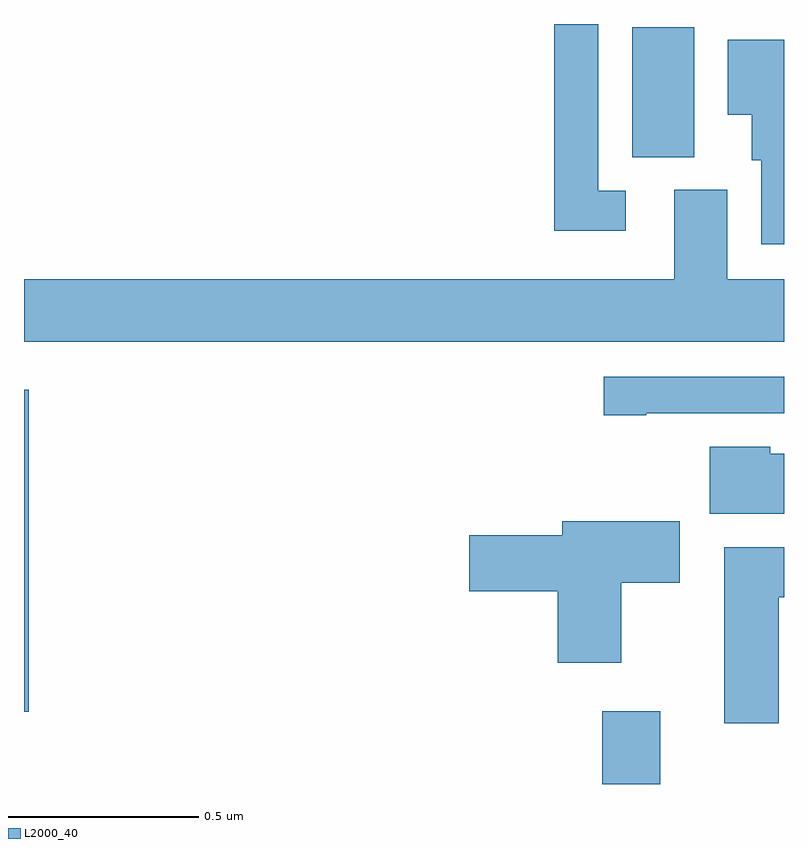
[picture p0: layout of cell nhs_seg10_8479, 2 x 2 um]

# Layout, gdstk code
import gdstk
lib = gdstk.Library(unit=1e-6, precision=1e-09)
def R(c, l, rs):  # rectangles x0, y0, x1, y1
    for r in rs: c.add(gdstk.rectangle(r[:2], r[2:], *l))
def P(c, l, *ps):  # polygons
    for p in ps: c.add(gdstk.Polygon(p, *l))
L2000_40 = (2000, 40)

nhs_seg10_8479 = lib.new_cell('nhs_seg10_8479')
R(nhs_seg10_8479, L2000_40, [(218.522,1284.5,218.674,1284.691), (217,1284.69,217.013,1285.537), (218.6,1286.149,218.764,1286.492)])
P(nhs_seg10_8479, L2000_40, [(218.584,1286.061),(218.511,1286.061),(218.511,1286.5),(218.395,1286.5),(218.395,1285.956),(218.584,1285.956)],
  [(219,1286.458),(218.852,1286.458),(218.852,1286.261),(218.915,1286.261),(218.915,1286.142),(218.94,1286.142),(218.94,1285.92),(219,1285.92)],
  [(219,1285.828),(218.851,1285.828),(218.851,1286.064),(218.711,1286.064),(218.711,1285.828),(217,1285.828),(217,1285.664),(219,1285.664)],
  [(218.638,1285.476),(219,1285.476),(219,1285.572),(218.526,1285.572),(218.526,1285.471),(218.638,1285.471)],
  [(219,1285.369),(218.964,1285.369),(218.964,1285.387),(218.804,1285.387),(218.804,1285.211),(219,1285.211)],
  [(218.572,1285.03),(218.725,1285.03),(218.725,1285.192),(218.417,1285.192),(218.417,1285.154),(218.172,1285.154),(218.172,1285.007),(218.405,1285.007),(218.405,1284.819),(218.572,1284.819)],
  [(218.986,1284.992),(219,1284.992),(219,1285.123),(218.843,1285.123),(218.843,1284.66),(218.986,1284.66)])

lib.write_gds('nhs_seg10_8479.gds')
